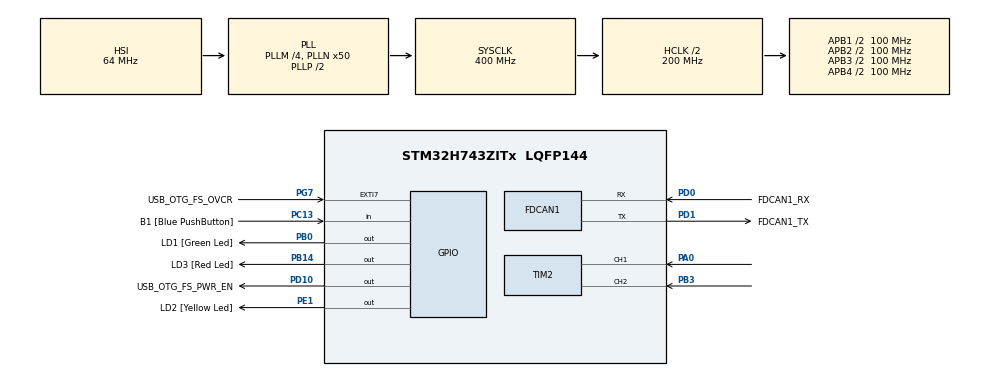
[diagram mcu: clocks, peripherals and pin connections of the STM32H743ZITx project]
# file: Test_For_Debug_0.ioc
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Mcu.Family=STM32H7
RCC.CortexFreq_Value=400000000
RCC.HPRE=RCC_HCLK_DIV2
PH0-OSC_IN\ (PH0).Signal=RCC_OSC_IN
PB14.GPIO_Label=LD3 [Red Led]
RCC.PLLFRACN=0
PD0.GPIO_Label=FDCAN1_RX
PB0.GPIO_Label=LD1 [Green Led]
VP_SYS_VS_tim16.Mode=TIM16
RCC.PLL2FRACN=0
PC13.GPIO_Label=B1 [Blue PushButton]
PB13.Signal=ETH_TXD1
PG13.Signal=ETH_TXD0
PG11.Signal=ETH_TX_EN
RCC.SYSCLKSource=RCC_SYSCLKSOURCE_PLLCLK
ProjectManager.StackSize=0x400
PA14\ (JTCK/SWCLK).Signal=DEBUG_JTCK-SWCLK
PA12.Signal=USB_OTG_FS_DP
RCC.HCLKFreq_Value=200000000
PD0.Signal=FDCAN1_RX
PD8.Signal=USART3_TX
PE1.Signal=GPIO_Output
RCC.HSE_VALUE=8000000
FREERTOS.configUSE_TIMERS=1
RCC.DIVM3=1
RCC.DIVM2=1
RCC.DIVM1=4
PD1.GPIO_Label=FDCAN1_TX
FDCAN1.StdFiltersNbr=1
PD1.GPIO_Speed=GPIO_SPEED_FREQ_VERY_HIGH
FDCAN1.NominalPrescaler=1
PA8.Signal=USB_OTG_FS_SOF
PA14\ (JTCK/SWCLK).Mode=Serial_Wire
VP_FREERTOS_VS_CMSIS_V1.Mode=CMSIS_V1
NVIC.FDCAN1_IT1_IRQn=true\:2\:0\:true\:false\:true\:false\:true\:true
FDCAN1.NominalTimeSeg2=3
FDCAN1.NominalTimeSeg1=6
PA0.Signal=S_TIM2_CH1
RCC.APB3Freq_Value=100000000
Mcu.Package=LQFP144
NVIC.TimeBase=TIM16_IRQn
RCC.PLL3FRACN=0
RCC.D1PPRE=RCC_APB3_DIV2
FDCAN1.RxFifo0ElmtsNbr=20
NVIC.TimeBaseIP=TIM16
RCC.APB4Freq_Value=100000000
PC5.Signal=ETH_RXD1
PH0-OSC_IN\ (PH0).Mode=HSE-External-Clock-Source
NVIC.FDCAN1_IT0_IRQn=true\:1\:0\:true\:false\:true\:false\:true\:true
SH.S_TIM2_CH1.0=TIM2_CH1,Encoder_Interface
RCC.DIVQ2=5
RCC.DIVQ1=10
FREERTOS.Tasks01=defaultTask,0,128,StartDefaultTask,Default,NULL,Dynamic,NULL,NULL
PG7.Signal=GPXTI7
PA13\ (JTMS/SWDIO).Mode=Serial_Wire
PD9.GPIO_Label=STLINK_TX
PC13.Signal=GPIO_Input
FREERTOS.INCLUDE_vTaskDelayUntil=1
PC4.Signal=ETH_RXD0
PD1.Signal=FDCAN1_TX
RCC.D2PPRE2=RCC_APB2_DIV2
RCC.D2PPRE1=RCC_APB1_DIV2
PD9.Signal=USART3_RX
NVIC.TIM16_IRQn=true\:0\:0\:false\:false\:true\:false\:false\:true
PH1-OSC_OUT\ (PH1).Signal=RCC_OSC_OUT
PD0.GPIO_Speed=GPIO_SPEED_FREQ_VERY_HIGH
PD8.GPIO_Label=STLINK_RX
PD10.Signal=GPIO_Output
SH.S_TIM2_CH2.0=TIM2_CH2,Encoder_Interface
PB3\ (JTDO/TRACESWO).Signal=S_TIM2_CH2
ProjectManager.TargetToolchain=SW4STM32
PC15-OSC32_OUT\ (OSC32_OUT).Signal=RCC_OSC32_OUT
PA9.Signal=USB_OTG_FS_VBUS
RCC.DIVN3=42
RCC.DIVN2=50
RCC.DIVN1=50
RCC.USBFreq_Value=80000000
PD10.GPIO_Label=USB_OTG_FS_PWR_EN
PA1.Signal=ETH_REF_CLK
PB14.Signal=GPIO_Output
board=NUCLEO-H743ZI2
PE1.GPIO_Label=LD2 [Yellow Led]
PD1.Mode=FDCANMaster
RCC.APB2Freq_Value=100000000
PG7.GPIO_Label=USB_OTG_FS_OVCR
RCC.ADCFreq_Value=1600000000
Mcu.Name=STM32H743ZITx
PD0.Mode=FDCANMaster
PA2.Signal=ETH_MDIO
FDCAN1.NominalSyncJumpWidth=1
RCC.SYSCLKFreq_VALUE=400000000
PC14-OSC32_IN\ (OSC32_IN).Signal=RCC_OSC32_IN
PA11.Signal=USB_OTG_FS_DM
ProjectManager.HeapSize=0x200
NVIC.PriorityGroup=NVIC_PRIORITYGROUP_4
RCC.D3PPRE=RCC_APB4_DIV2
RCC.APB1Freq_Value=100000000
PB0.Signal=GPIO_Output
FDCAN1.TxFifoQueueElmtsNbr=1
PC1.Signal=ETH_MDC
PA13\ (JTMS/SWDIO).Signal=DEBUG_JTMS-SWDIO
PA7.Signal=ETH_CRS_DV

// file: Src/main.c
/* USER CODE BEGIN Header */
/**
 ******************************************************************************
 * @file           : main.c
 * @brief          : Main program body
 ******************************************************************************
 * @attention
 *
 * <h2><center>&copy; Copyright (c) 2020 STMicroelectronics.
 * All rights reserved.</center></h2>
 *
 * This software component is licensed by ST under BSD 3-Clause license,
 * the "License"; You may not use this file except in compliance with the
 * License. You may obtain a copy of the License at:
 *                        opensource.org/licenses/BSD-3-Clause
 *
 ******************************************************************************
 */
/* USER CODE END Header */
#include "main.h"
#include "cmsis_os.h"

/* USER CODE BEGIN Includes */
#include "MainTask.h"
#include "MemoryManagement.h"
/* USER CODE END Includes */

/* USER CODE BEGIN PD */
#define KEY_PRESSED     0x01
#define KEY_NOT_PRESSED 0x00
/* USER CODE END PD */

FDCAN_HandleTypeDef hfdcan1;

TIM_HandleTypeDef htim2;

osThreadId defaultTaskHandle;
/* USER CODE BEGIN PV */
uint8_t ubKeyNumber = 0x0;
// FDCAN_HandleTypeDef hfdcan, hfdcan1;
FDCAN_RxHeaderTypeDef RxHeader;
uint8_t RxData[8];
FDCAN_TxHeaderTypeDef TxHeader;
uint8_t TxData[8];

TaskHandle_t mainTaskHandle;
/* USER CODE END PV */

void SystemClock_Config(void);
static void MX_GPIO_Init(void);
static void MX_FDCAN1_Init(void);
static void MX_TIM2_Init(void);
void StartDefaultTask(void const * argument);

/* USER CODE BEGIN PFP */
void LED_Display(uint8_t LedStatus);
/* USER CODE END PFP */

int main(void)
{

  /* MCU Configuration--------------------------------------------------------*/

  /* Reset of all peripherals, Initializes the Flash interface and the Systick. */
  HAL_Init();

  /* Configure the system clock */
  SystemClock_Config();

  /* USER CODE BEGIN SysInit */
	//	TestBench();
  ZeroInitFreeRTOSheap();

  /* USER CODE END SysInit */

  /* Initialize all configured peripherals */
  MX_GPIO_Init();
  MX_FDCAN1_Init();
  MX_TIM2_Init();
  /* USER CODE BEGIN 2 */
	/* Send dummy message*/
	TxData[0] = 0x08;
	TxData[1] = 0xAD;
	//	if(HAL_FDCAN_AddMessageToTxFifoQ(&hfdcan1, &TxHeader, TxData) != HAL_OK)
	{

		/*Transmission request Error*/
		Error_Handler();
	}
	//	BSP_LED_Init(LD1_Pin);
	//	BSP_LED_Init(LD2_Pin);
	//	BSP_LED_Init(LD3_Pin);
//	MainTask(1);
	for (int i = 0; i < 5; i++) {
		LED_Display(0);
		HAL_Delay(500);
		LED_Display(1);
		HAL_Delay(500);
		LED_Display(2);
		HAL_Delay(500);
	}
	BSP_LED_Off(2);
//	MainTask(1);
	testTask();
	/* If do it with RTOS then */
	if (1) {
		// ZeroInitFreeRTOSheap();
        // MAIN_TASK_PRIORITY = 0
		/* Create the main thread which creates objects and spawns the rest of the threads */
		xTaskCreate(MainTask, "mainTask", 1024, (void*) NULL,
				0, &mainTaskHandle);

		/* Start scheduler */
		osKernelStart();
	}

	/* Real time os finish */
	/* Test bench only */
	while(1){
		TestBench();
		int a = 0;
	}
  /* USER CODE END 2 */

  /* Create the thread(s) */
  /* definition and creation of defaultTask */
  osThreadDef(defaultTask, StartDefaultTask, osPriorityNormal, 0, 128);
  defaultTaskHandle = osThreadCreate(osThread(defaultTask), NULL);

  /* Start scheduler */
  osKernelStart();

  /* We should never get here as control is now taken by the scheduler */
  /* Infinite loop */
  /* USER CODE BEGIN WHILE */
	while (BSP_PB_GetState(BUTTON_USER) != KEY_NOT_PRESSED)
	{
		if (ubKeyNumber == 0x4)
		{
			ubKeyNumber = 0x0;
		}
		else
		{
			LED_Display(++ubKeyNumber);
			/*Set the data to be transmitted*/
			TxData[0] = ubKeyNumber;
			TxData[1] = 0xAD;
			for(uint8_t i = 0; i < 8; i++){
				/* Start the transmission process*/
				TxData[2] = i;
				if(HAL_FDCAN_AddMessageToTxFifoQ(&hfdcan1, &TxHeader, TxData) != HAL_OK)
				{
					TxData[1] = i;
					/*Transmission request Error*/
					Error_Handler();
				}
				HAL_Delay(10);
				while (BSP_PB_GetState(BUTTON_USER) == KEY_PRESSED)
				{
				}
			}
		}
		if (HAL_FDCAN_GetRxFifoFillLevel(&hfdcan1, FDCAN_RX_FIFO0) > 0) {
			LED_Display(1);
			HAL_Delay(200);
			LED_Display(2);
			HAL_Delay(200);
			LED_Display(3);
			HAL_Delay(200);
			/* Retrieve Rx messages from RX FIFO0 */
			HAL_FDCAN_GetRxMessage(&hfdcan1, FDCAN_RX_FIFO0, &RxHeader, RxData);
			HAL_FDCAN_GetRxMessage(&hfdcan1, FDCAN_RX_FIFO0, &RxHeader, &RxData[8]);
		}
    /* USER CODE END WHILE */

	}
}

void SystemClock_Config(void)
{
  RCC_OscInitTypeDef RCC_OscInitStruct = {0};
  RCC_ClkInitTypeDef RCC_ClkInitStruct = {0};
  RCC_PeriphCLKInitTypeDef PeriphClkInitStruct = {0};

  /** Supply configuration update enable
  */
  HAL_PWREx_ConfigSupply(PWR_LDO_SUPPLY);
  /** Configure the main internal regulator output voltage
  */
  __HAL_PWR_VOLTAGESCALING_CONFIG(PWR_REGULATOR_VOLTAGE_SCALE1);

  while(!__HAL_PWR_GET_FLAG(PWR_FLAG_VOSRDY)) {}
  /** Initializes the RCC Oscillators according to the specified parameters
  * in the RCC_OscInitTypeDef structure.
  */
  RCC_OscInitStruct.OscillatorType = RCC_OSCILLATORTYPE_HSI;
  RCC_OscInitStruct.HSIState = RCC_HSI_DIV1;
  RCC_OscInitStruct.HSICalibrationValue = RCC_HSICALIBRATION_DEFAULT;
  RCC_OscInitStruct.PLL.PLLState = RCC_PLL_ON;
  RCC_OscInitStruct.PLL.PLLSource = RCC_PLLSOURCE_HSI;
  RCC_OscInitStruct.PLL.PLLM = 4;
  RCC_OscInitStruct.PLL.PLLN = 50;
  RCC_OscInitStruct.PLL.PLLP = 2;
  RCC_OscInitStruct.PLL.PLLQ = 10;
  RCC_OscInitStruct.PLL.PLLR = 2;
  RCC_OscInitStruct.PLL.PLLRGE = RCC_PLL1VCIRANGE_3;
  RCC_OscInitStruct.PLL.PLLVCOSEL = RCC_PLL1VCOWIDE;
  RCC_OscInitStruct.PLL.PLLFRACN = 0;
  if (HAL_RCC_OscConfig(&RCC_OscInitStruct) != HAL_OK)
  {
    Error_Handler();
  }
  /** Initializes the CPU, AHB and APB buses clocks
  */
  RCC_ClkInitStruct.ClockType = RCC_CLOCKTYPE_HCLK|RCC_CLOCKTYPE_SYSCLK
                              |RCC_CLOCKTYPE_PCLK1|RCC_CLOCKTYPE_PCLK2
                              |RCC_CLOCKTYPE_D3PCLK1|RCC_CLOCKTYPE_D1PCLK1;
  RCC_ClkInitStruct.SYSCLKSource = RCC_SYSCLKSOURCE_PLLCLK;
  RCC_ClkInitStruct.SYSCLKDivider = RCC_SYSCLK_DIV1;
  RCC_ClkInitStruct.AHBCLKDivider = RCC_HCLK_DIV2;
  RCC_ClkInitStruct.APB3CLKDivider = RCC_APB3_DIV2;
  RCC_ClkInitStruct.APB1CLKDivider = RCC_APB1_DIV2;
  RCC_ClkInitStruct.APB2CLKDivider = RCC_APB2_DIV2;
  RCC_ClkInitStruct.APB4CLKDivider = RCC_APB4_DIV2;

  if (HAL_RCC_ClockConfig(&RCC_ClkInitStruct, FLASH_LATENCY_2) != HAL_OK)
  {
    Error_Handler();
  }
  PeriphClkInitStruct.PeriphClockSelection = RCC_PERIPHCLK_FDCAN;
  PeriphClkInitStruct.FdcanClockSelection = RCC_FDCANCLKSOURCE_PLL;
  if (HAL_RCCEx_PeriphCLKConfig(&PeriphClkInitStruct) != HAL_OK)
  {
    Error_Handler();
  }
}

static void MX_FDCAN1_Init(void)
{

  /* USER CODE BEGIN FDCAN1_Init 1 */
	/* Prepare Tx Header */
	TxHeader.Identifier = 0x321;
	TxHeader.IdType = FDCAN_STANDARD_ID;
	TxHeader.TxFrameType = FDCAN_DATA_FRAME;
	TxHeader.DataLength = FDCAN_DLC_BYTES_3;
	TxHeader.ErrorStateIndicator = FDCAN_ESI_ACTIVE;
	TxHeader.BitRateSwitch = FDCAN_BRS_OFF;
	TxHeader.FDFormat = FDCAN_CLASSIC_CAN;
	TxHeader.TxEventFifoControl = FDCAN_NO_TX_EVENTS;
	TxHeader.MessageMarker = 0;

	FDCAN_FilterTypeDef sFilterConfig;
	/* Configure Rx filter */
	sFilterConfig.IdType = FDCAN_STANDARD_ID;
	sFilterConfig.FilterIndex = 0;
	sFilterConfig.FilterType = FDCAN_FILTER_MASK;
	sFilterConfig.FilterConfig = FDCAN_FILTER_DISABLE;
	sFilterConfig.FilterID1 = 0x701;
	sFilterConfig.FilterID2 = 0x7FF;

  /* USER CODE END FDCAN1_Init 1 */
  hfdcan1.Instance = FDCAN1;
  hfdcan1.Init.FrameFormat = FDCAN_FRAME_CLASSIC;
  hfdcan1.Init.Mode = FDCAN_MODE_NORMAL;
  hfdcan1.Init.AutoRetransmission = DISABLE;
  hfdcan1.Init.TransmitPause = DISABLE;
  hfdcan1.Init.ProtocolException = DISABLE;
  hfdcan1.Init.NominalPrescaler = 1;
  hfdcan1.Init.NominalSyncJumpWidth = 1;
  hfdcan1.Init.NominalTimeSeg1 = 6;
  hfdcan1.Init.NominalTimeSeg2 = 3;
  hfdcan1.Init.DataPrescaler = 1;
  hfdcan1.Init.DataSyncJumpWidth = 1;
  hfdcan1.Init.DataTimeSeg1 = 1;
  hfdcan1.Init.DataTimeSeg2 = 1;
  hfdcan1.Init.MessageRAMOffset = 0;
  hfdcan1.Init.StdFiltersNbr = 1;
  hfdcan1.Init.ExtFiltersNbr = 0;
  hfdcan1.Init.RxFifo0ElmtsNbr = 20;
  hfdcan1.Init.RxFifo0ElmtSize = FDCAN_DATA_BYTES_8;
  hfdcan1.Init.RxFifo1ElmtsNbr = 0;
  hfdcan1.Init.RxFifo1ElmtSize = FDCAN_DATA_BYTES_8;
  hfdcan1.Init.RxBuffersNbr = 0;
  hfdcan1.Init.RxBufferSize = FDCAN_DATA_BYTES_8;
  hfdcan1.Init.TxEventsNbr = 0;
  hfdcan1.Init.TxBuffersNbr = 0;
  hfdcan1.Init.TxFifoQueueElmtsNbr = 1;
  hfdcan1.Init.TxFifoQueueMode = FDCAN_TX_FIFO_OPERATION;
  hfdcan1.Init.TxElmtSize = FDCAN_DATA_BYTES_8;
  if (HAL_FDCAN_Init(&hfdcan1) != HAL_OK)
  {
    Error_Handler();
  }
  /* USER CODE BEGIN FDCAN1_Init 2 */
	if (HAL_FDCAN_ConfigFilter(&hfdcan1, &sFilterConfig) != HAL_OK)
	{
		/* Filter configuration Error */
		Error_Handler();
	}
	//	if (HAL_FDCAN_ActivateNotification(&hfdcan1, FDCAN_IT_RX_FIFO0_NEW_MESSAGE, 0) != HAL_OK)
	//	{
	//		/* Notification Error */
	//		Error_Handler();
	//	}
	/* START THE CAN MODULE */
	if (HAL_FDCAN_Start(&hfdcan1) != HAL_OK)
	{
		/* Start Error */
		Error_Handler();
	}
  /* USER CODE END FDCAN1_Init 2 */

}

static void MX_TIM2_Init(void)
{

  TIM_Encoder_InitTypeDef sConfig = {0};
  TIM_MasterConfigTypeDef sMasterConfig = {0};

  htim2.Instance = TIM2;
  htim2.Init.Prescaler = 0;
  htim2.Init.CounterMode = TIM_COUNTERMODE_UP;
  htim2.Init.Period = 4294967295;
  htim2.Init.ClockDivision = TIM_CLOCKDIVISION_DIV1;
  htim2.Init.AutoReloadPreload = TIM_AUTORELOAD_PRELOAD_DISABLE;
  sConfig.EncoderMode = TIM_ENCODERMODE_TI1;
  sConfig.IC1Polarity = TIM_ICPOLARITY_RISING;
  sConfig.IC1Selection = TIM_ICSELECTION_DIRECTTI;
  sConfig.IC1Prescaler = TIM_ICPSC_DIV1;
  sConfig.IC1Filter = 0;
  sConfig.IC2Polarity = TIM_ICPOLARITY_RISING;
  sConfig.IC2Selection = TIM_ICSELECTION_DIRECTTI;
  sConfig.IC2Prescaler = TIM_ICPSC_DIV1;
  sConfig.IC2Filter = 0;
  if (HAL_TIM_Encoder_Init(&htim2, &sConfig) != HAL_OK)
  {
    Error_Handler();
  }
  sMasterConfig.MasterOutputTrigger = TIM_TRGO_RESET;
  sMasterConfig.MasterSlaveMode = TIM_MASTERSLAVEMODE_DISABLE;
  if (HAL_TIMEx_MasterConfigSynchronization(&htim2, &sMasterConfig) != HAL_OK)
  {
    Error_Handler();
  }

}

static void MX_GPIO_Init(void)
{
  GPIO_InitTypeDef GPIO_InitStruct = {0};

  /* GPIO Ports Clock Enable */
  __HAL_RCC_GPIOC_CLK_ENABLE();
  __HAL_RCC_GPIOH_CLK_ENABLE();
  __HAL_RCC_GPIOA_CLK_ENABLE();
  __HAL_RCC_GPIOB_CLK_ENABLE();
  __HAL_RCC_GPIOD_CLK_ENABLE();
  __HAL_RCC_GPIOG_CLK_ENABLE();
  __HAL_RCC_GPIOE_CLK_ENABLE();

  /*Configure GPIO pin Output Level */
  HAL_GPIO_WritePin(GPIOB, LD1_Pin|LD3_Pin, GPIO_PIN_RESET);

  /*Configure GPIO pin Output Level */
  HAL_GPIO_WritePin(USB_OTG_FS_PWR_EN_GPIO_Port, USB_OTG_FS_PWR_EN_Pin, GPIO_PIN_RESET);

  /*Configure GPIO pin Output Level */
  HAL_GPIO_WritePin(LD2_GPIO_Port, LD2_Pin, GPIO_PIN_RESET);

  /*Configure GPIO pin : B1_Pin */
  GPIO_InitStruct.Pin = B1_Pin;
  GPIO_InitStruct.Mode = GPIO_MODE_INPUT;
  GPIO_InitStruct.Pull = GPIO_NOPULL;
  HAL_GPIO_Init(B1_GPIO_Port, &GPIO_InitStruct);

  /*Configure GPIO pins : PC1 PC4 PC5 */
  GPIO_InitStruct.Pin = GPIO_PIN_1|GPIO_PIN_4|GPIO_PIN_5;
  GPIO_InitStruct.Mode = GPIO_MODE_AF_PP;
  GPIO_InitStruct.Pull = GPIO_NOPULL;
  GPIO_InitStruct.Speed = GPIO_SPEED_FREQ_LOW;
  GPIO_InitStruct.Alternate = GPIO_AF11_ETH;
  HAL_GPIO_Init(GPIOC, &GPIO_InitStruct);

  /*Configure GPIO pins : PA1 PA2 PA7 */
  GPIO_InitStruct.Pin = GPIO_PIN_1|GPIO_PIN_2|GPIO_PIN_7;
  GPIO_InitStruct.Mode = GPIO_MODE_AF_PP;
  GPIO_InitStruct.Pull = GPIO_NOPULL;
  GPIO_InitStruct.Speed = GPIO_SPEED_FREQ_LOW;
  GPIO_InitStruct.Alternate = GPIO_AF11_ETH;
  HAL_GPIO_Init(GPIOA, &GPIO_InitStruct);

  /*Configure GPIO pins : LD1_Pin LD3_Pin */
  GPIO_InitStruct.Pin = LD1_Pin|LD3_Pin;
  GPIO_InitStruct.Mode = GPIO_MODE_OUTPUT_PP;
  GPIO_InitStruct.Pull = GPIO_NOPULL;
  GPIO_InitStruct.Speed = GPIO_SPEED_FREQ_LOW;
  HAL_GPIO_Init(GPIOB, &GPIO_InitStruct);

  /*Configure GPIO pin : PB13 */
  GPIO_InitStruct.Pin = GPIO_PIN_13;
  GPIO_InitStruct.Mode = GPIO_MODE_AF_PP;
  GPIO_InitStruct.Pull = GPIO_NOPULL;
  GPIO_InitStruct.Speed = GPIO_SPEED_FREQ_LOW;
  GPIO_InitStruct.Alternate = GPIO_AF11_ETH;
  HAL_GPIO_Init(GPIOB, &GPIO_InitStruct);

  /*Configure GPIO pins : STLINK_RX_Pin STLINK_TX_Pin */
  GPIO_InitStruct.Pin = STLINK_RX_Pin|STLINK_TX_Pin;
  GPIO_InitStruct.Mode = GPIO_MODE_AF_PP;
  GPIO_InitStruct.Pull = GPIO_NOPULL;
  GPIO_InitStruct.Speed = GPIO_SPEED_FREQ_LOW;
  GPIO_InitStruct.Alternate = GPIO_AF7_USART3;
  HAL_GPIO_Init(GPIOD, &GPIO_InitStruct);

  /*Configure GPIO pin : USB_OTG_FS_PWR_EN_Pin */
  GPIO_InitStruct.Pin = USB_OTG_FS_PWR_EN_Pin;
  GPIO_InitStruct.Mode = GPIO_MODE_OUTPUT_PP;
  GPIO_InitStruct.Pull = GPIO_NOPULL;
  GPIO_InitStruct.Speed = GPIO_SPEED_FREQ_LOW;
  HAL_GPIO_Init(USB_OTG_FS_PWR_EN_GPIO_Port, &GPIO_InitStruct);

  /*Configure GPIO pin : USB_OTG_FS_OVCR_Pin */
  GPIO_InitStruct.Pin = USB_OTG_FS_OVCR_Pin;
  GPIO_InitStruct.Mode = GPIO_MODE_IT_RISING;
  GPIO_InitStruct.Pull = GPIO_NOPULL;
  HAL_GPIO_Init(USB_OTG_FS_OVCR_GPIO_Port, &GPIO_InitStruct);

  /*Configure GPIO pins : PA8 PA11 PA12 */
  GPIO_InitStruct.Pin = GPIO_PIN_8|GPIO_PIN_11|GPIO_PIN_12;
  GPIO_InitStruct.Mode = GPIO_MODE_AF_PP;
  GPIO_InitStruct.Pull = GPIO_NOPULL;
  GPIO_InitStruct.Speed = GPIO_SPEED_FREQ_LOW;
  GPIO_InitStruct.Alternate = GPIO_AF10_OTG1_FS;
  HAL_GPIO_Init(GPIOA, &GPIO_InitStruct);

  /*Configure GPIO pins : PG11 PG13 */
  GPIO_InitStruct.Pin = GPIO_PIN_11|GPIO_PIN_13;
  GPIO_InitStruct.Mode = GPIO_MODE_AF_PP;
  GPIO_InitStruct.Pull = GPIO_NOPULL;
  GPIO_InitStruct.Speed = GPIO_SPEED_FREQ_LOW;
  GPIO_InitStruct.Alternate = GPIO_AF11_ETH;
  HAL_GPIO_Init(GPIOG, &GPIO_InitStruct);

  /*Configure GPIO pin : LD2_Pin */
  GPIO_InitStruct.Pin = LD2_Pin;
  GPIO_InitStruct.Mode = GPIO_MODE_OUTPUT_PP;
  GPIO_InitStruct.Pull = GPIO_NOPULL;
  GPIO_InitStruct.Speed = GPIO_SPEED_FREQ_LOW;
  HAL_GPIO_Init(LD2_GPIO_Port, &GPIO_InitStruct);

}

/* USER CODE BEGIN 4 */
void LED_Display(uint8_t LedStatus)
{
	BSP_LED_Off(LD1_Pin);
	BSP_LED_Off(LD2_Pin);
	BSP_LED_Off(LD3_Pin);

	switch(LedStatus)
	{
	case (0):
										BSP_LED_On(0);
	break;
	case (1):
										BSP_LED_On(1);
	break;
	case (2):
										BSP_LED_On(2);
	break;
	default:
		break;
	}
}
/* USER CODE END 4 */

void StartDefaultTask(void const * argument)
{
  for(;;)
  {
    osDelay(1);
  }
}

void HAL_TIM_PeriodElapsedCallback(TIM_HandleTypeDef *htim)
{
  /* USER CODE BEGIN Callback 0 */
////
  /* USER CODE END Callback 0 */
  if (htim->Instance == TIM16) {
    HAL_IncTick();
  }
  /* USER CODE BEGIN Callback 1 */
////
  /* USER CODE END Callback 1 */
}

void Error_Handler(void)
{
}

/************************ (C) COPYRIGHT STMicroelectronics *****END OF FILE****/

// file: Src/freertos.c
/* USER CODE BEGIN Header */
/**
  ******************************************************************************
  * File Name          : freertos.c
  * Description        : Code for freertos applications
  ******************************************************************************
  * @attention
  *
  * <h2><center>&copy; Copyright (c) 2020 STMicroelectronics.
  * All rights reserved.</center></h2>
  *
  * This software component is licensed by ST under Ultimate Liberty license
  * SLA0044, the "License"; You may not use this file except in compliance with
  * the License. You may obtain a copy of the License at:
  *                             www.st.com/SLA0044
  *
  ******************************************************************************
  */
/* USER CODE END Header */

#include "FreeRTOS.h"
#include "task.h"
#include "main.h"

/* USER CODE BEGIN Includes */
#include "stm32h7xx_hal_timebase_tim.h"
/* USER CODE END Includes */

/* GetIdleTaskMemory prototype (linked to static allocation support) */
void vApplicationGetIdleTaskMemory( StaticTask_t **ppxIdleTaskTCBBuffer, StackType_t **ppxIdleTaskStackBuffer, uint32_t *pulIdleTaskStackSize );

/* GetTimerTaskMemory prototype (linked to static allocation support) */
void vApplicationGetTimerTaskMemory( StaticTask_t **ppxTimerTaskTCBBuffer, StackType_t **ppxTimerTaskStackBuffer, uint32_t *pulTimerTaskStackSize );

/* USER CODE BEGIN GET_IDLE_TASK_MEMORY */
static StaticTask_t xIdleTaskTCBBuffer;
static StackType_t xIdleStack[configMINIMAL_STACK_SIZE];

void vApplicationGetIdleTaskMemory( StaticTask_t **ppxIdleTaskTCBBuffer, StackType_t **ppxIdleTaskStackBuffer, uint32_t *pulIdleTaskStackSize )
{
  *ppxIdleTaskTCBBuffer = &xIdleTaskTCBBuffer;
  *ppxIdleTaskStackBuffer = &xIdleStack[0];
  *pulIdleTaskStackSize = configMINIMAL_STACK_SIZE;
  /* place for user code */
}
/* USER CODE END GET_IDLE_TASK_MEMORY */

/* USER CODE BEGIN GET_TIMER_TASK_MEMORY */
static StaticTask_t xTimerTaskTCBBuffer;
static StackType_t xTimerStack[configTIMER_TASK_STACK_DEPTH];

void vApplicationGetTimerTaskMemory( StaticTask_t **ppxTimerTaskTCBBuffer, StackType_t **ppxTimerTaskStackBuffer, uint32_t *pulTimerTaskStackSize )
{
  *ppxTimerTaskTCBBuffer = &xTimerTaskTCBBuffer;
  *ppxTimerTaskStackBuffer = &xTimerStack[0];
  *pulTimerTaskStackSize = configTIMER_TASK_STACK_DEPTH;
  /* place for user code */
}
/* USER CODE END GET_TIMER_TASK_MEMORY */

/************************ (C) COPYRIGHT STMicroelectronics *****END OF FILE****/
